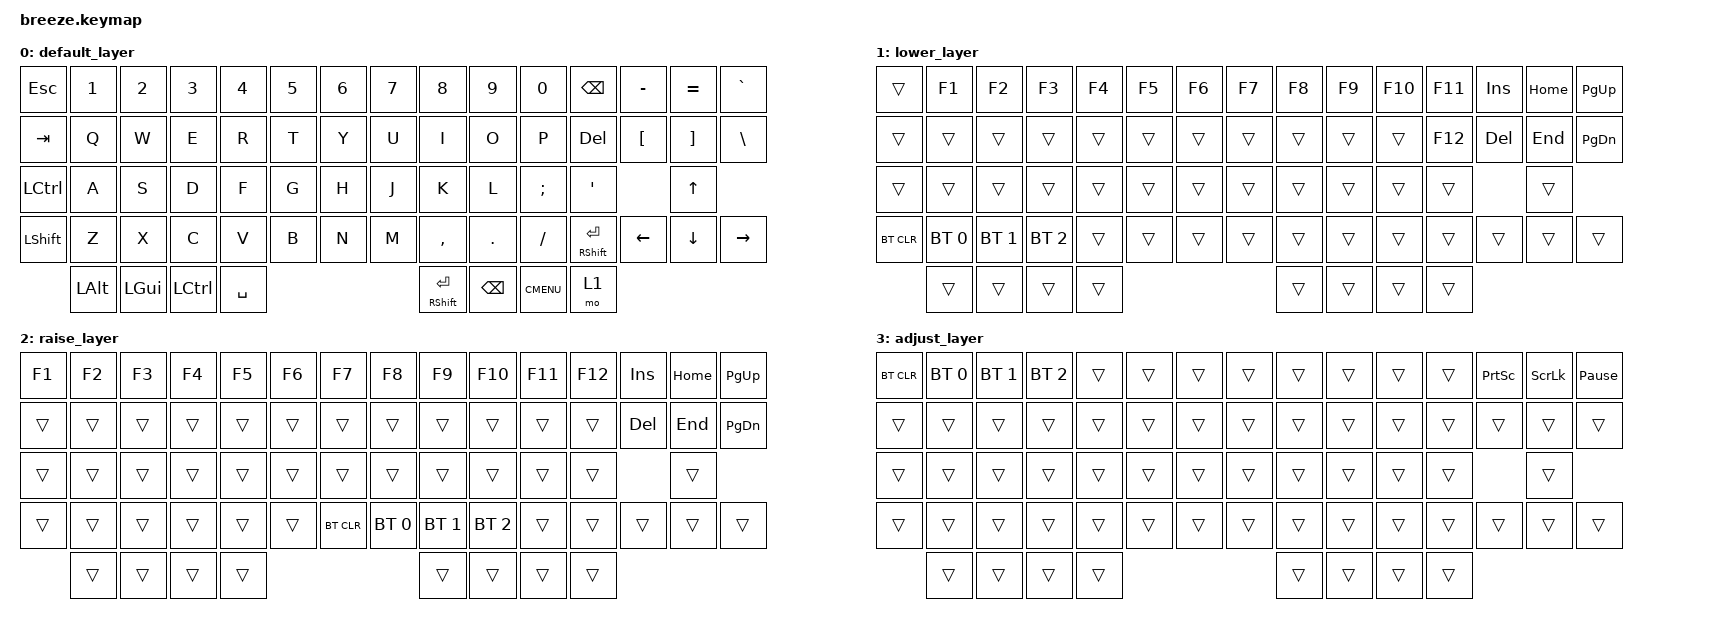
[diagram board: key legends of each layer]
/*
 * Copyright (c) 2022 The ZMK Contributors
 *
 * SPDX-License-Identifier: MIT
 */

#include <behaviors.dtsi>
#include <dt-bindings/zmk/keys.h>
#include <dt-bindings/zmk/bt.h>
#include <dt-bindings/zmk/ext_power.h>

/ {
	keymap {
		compatible = "zmk,keymap";

		default_layer {

// Ref: https://zmkfirmware.dev/docs/codes/

// ----------------------------------------------------------------------------------------------------------------------------------
// |  ESC  |  1  |  2  |  3    |  4   |  5   |                               |  6   |  7    |  8    |  9   |   0   | BKSP | |  -_  | =+ | `~ |
// |  TAB  |  Q  |  W  |  E    |  R   |  T   |                               |  Y   |  U    |  I    |  O   |   P   |  DEL | |  [{  | }]  | \||
// |  CTRL |  A  |  S  |  D    |  F   |  G   |                               |  H   |  J    |  K    |  L   |   ;   |  '   | |     |  UP  |      |
// |  SHFT |  Z  |  X  |  C    |  V   |  B   |                               |  N   |  M    |  ,    |  .   |   /   |  RET | |  L  |  DN  |  R   |
//                     |  ALT  | GUI  | CTL  | LOWER/SPACE |   | Enter/Shift | BKSP | MNU   | RCTRL |
			bindings = <
&kp ESC   &kp N1 &kp N2 &kp N3 &kp N4 &kp N5        &kp N6 &kp N7 &kp N8 &kp N9 &kp N0 &kp BSPC                    &kp MINUS &kp EQUAL &kp GRAVE
&kp TAB   &kp Q  &kp W  &kp E  &kp R  &kp T         &kp Y  &kp U  &kp I  &kp O  &kp P  &kp DEL                      &kp LBKT &kp RBKT &kp BSLH
&kp LCTRL &kp A  &kp S  &kp D  &kp F  &kp G         &kp H  &kp J  &kp K  &kp L  &kp SEMI &kp APOS                           &kp UP 
&kp LSHFT &kp Z  &kp X  &kp C  &kp V  &kp B         &kp N  &kp M  &kp COMMA &kp DOT &kp FSLH &mt RSHFT RET        &kp LEFT  &kp DOWN  &kp RIGHT
          &kp LALT &kp LGUI &kp LCTRL &kp SPACE        &mt RSHFT RET &kp BSPC &kp K_CMENU &mo 1
			>;
		};

		lower_layer {
// ---------------------------------------------------------------------------------------------------------------------------------- 
// |       |  F1  |  F2  |  F3  |  F4  |  F5  |                   |  F6  |  F7  |  F8  |  F9  |  F10  |  F11  | |  INS  | HOME | PG UP | 
// |       |      |      |      |      |      |                   |      |      |      |      |       |  F12  | |  DEL  | END  | PG DN | 
// |       |      |      |      |      |      |                   |      |      |      |      |       |       | |       |      |       | 
// | BT CL | BT 0 | BT 1 | BT 2 |      |      |                   |      |      |      |      |       |       | |       |      |       | 
//                      |      |       |      |        |  |       |      |      |      |
			bindings = <
&trans &kp F1 &kp F2 &kp F3 &kp F4 &kp F5                         &kp F6 &kp F7 &kp F8 &kp F9 &kp F10 &kp F11       &kp INS &kp HOME &kp PG_UP
&trans &trans &trans &trans &trans &trans                         &trans &trans &trans &trans &trans &kp F12        &kp DEL &kp END &kp PG_DN
&trans &trans &trans &trans &trans &trans                         &trans &trans &trans &trans &trans &trans                 &trans
&bt BT_CLR &bt BT_SEL 0 &bt BT_SEL 1 &bt BT_SEL 2 &trans &trans        &trans &trans &trans &trans &trans &trans        &trans &trans &trans
        &trans &trans &trans &trans        &trans &trans &trans &trans        
			>;
		};

		raise_layer {
// ---------------------------------------------------------------------------------------------------------------------------------- 
// | ESC |      |      |      |      |        |                   |      |      |      |      |       |       | |     |      |      | 
// |     |      |      |      |      |        |                   |      |      |      |      |       |       | |     |      |      | 
// |     |CTRL-A|      |      |      |        |                   | HOME | PGDN | PGUP | END  |       |       | |     |      |      | 
// |     |CTRL-Z|CTRL-X|CTRL-C|CTRL-V|        |                   |      |      |      |      |       |       | |     |      |      | 
//                     |      |      |        |  BKSP  |  |       |      |      |      |
			bindings = <
&kp F1 &kp F2 &kp F3 &kp F4 &kp F5 &kp F6        &kp F7 &kp F8 &kp F9 &kp F10 &kp F11 &kp F12        &kp INS &kp HOME &kp PG_UP
&trans &trans &trans &trans &trans &trans        &trans &trans &trans &trans &trans &trans        &kp DEL &kp END &kp PG_DN
&trans &trans &trans &trans &trans &trans        &trans &trans &trans &trans &trans &trans        &trans
&trans &trans &trans &trans &trans &trans        &bt BT_CLR &bt BT_SEL 0 &bt BT_SEL 1 &bt BT_SEL 2 &trans &trans        &trans &trans &trans
        &trans &trans &trans &trans        &trans &trans &trans &trans
			>;
		};
		
		adjust_layer {
// ---------------------------------------------------------------------------------------------------------------------------------- 
// | BT1 | BT2 | BT3 | BT4  |      | BT_CLR |                   |      |       |       |      |       |       | |     |      |      | 
// |     |     |     |      |      |        |                   |      |       |       |      |       |       | |     |      |      | 
// |     |     |     |      |      |        |                   |      |       |       |      |       |       | |     |      |      | 
// |     |     |     |      |      |        |                   |      |       |       |      |       |       | |     |      |      | 
//                   |      |      |        |        |  |       |      |       |       |
			bindings = <
&bt BT_CLR &bt BT_SEL 0 &bt BT_SEL 1 &bt BT_SEL 2 &trans &trans        &trans &trans &trans &trans &trans &trans        &kp PSCRN &kp SLCK &kp PAUSE_BREAK
&trans &trans &trans &trans &trans &trans        &trans &trans &trans &trans &trans &trans        &trans &trans &trans
&trans &trans &trans &trans &trans &trans        &trans &trans &trans &trans &trans &trans        &trans
&trans &trans &trans &trans &trans &trans        &trans &trans &trans &trans &trans &trans        &trans &trans &trans
        &trans &trans &trans &trans        &trans &trans &trans &trans
			>;
		};
	};
};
